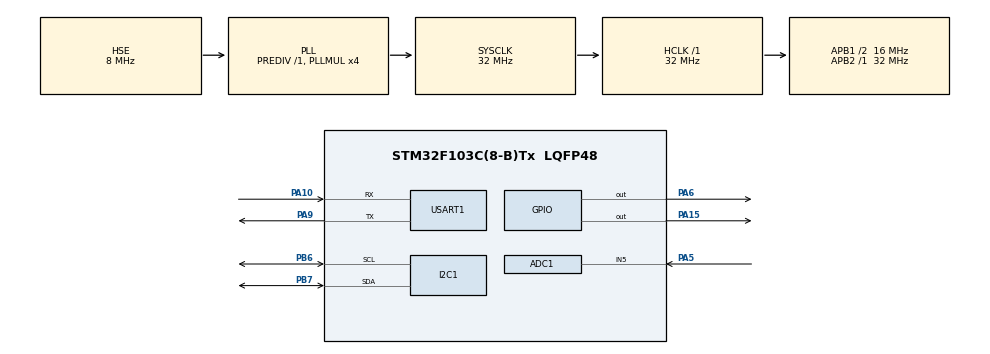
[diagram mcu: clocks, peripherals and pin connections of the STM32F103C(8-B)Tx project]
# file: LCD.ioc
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ADC1.Channel-1\#ChannelRegularConversion=ADC_CHANNEL_5
ADC1.ContinuousConvMode=ENABLE
ADC1.NbrOfConversionFlag=1
ADC1.Rank-1\#ChannelRegularConversion=1
ADC1.SamplingTime-1\#ChannelRegularConversion=ADC_SAMPLETIME_55CYCLES_5
ADC1.master=1
Mcu.Family=STM32F1
Mcu.Name=STM32F103C(8-B)Tx
Mcu.Package=LQFP48
NVIC.ADC1_2_IRQn=true\:0\:0\:false\:false\:true\:true\:true
NVIC.PriorityGroup=NVIC_PRIORITYGROUP_4
NVIC.USART1_IRQn=true\:0\:0\:false\:false\:true\:true\:true
PA10.Mode=Asynchronous
PA10.Signal=USART1_RX
PA13.Mode=Serial_Wire
PA13.Signal=SYS_JTMS-SWDIO
PA14.Mode=Serial_Wire
PA14.Signal=SYS_JTCK-SWCLK
PA15.Signal=GPIO_Output
PA5.Signal=ADCx_IN5
PA6.Signal=GPIO_Output
PA9.Mode=Asynchronous
PA9.Signal=USART1_TX
PB6.Mode=I2C
PB6.Signal=I2C1_SCL
PB7.Mode=I2C
PB7.Signal=I2C1_SDA
PD0-OSC_IN.Mode=HSE-External-Oscillator
PD0-OSC_IN.Signal=RCC_OSC_IN
PD1-OSC_OUT.Mode=HSE-External-Oscillator
PD1-OSC_OUT.Signal=RCC_OSC_OUT
ProjectManager.HeapSize=0x200
ProjectManager.StackSize=0x400
ProjectManager.TargetToolchain=MDK-ARM V5
RCC.ADCPresc=RCC_ADCPCLK2_DIV4
RCC.AHBFreq_Value=32000000
RCC.APB1CLKDivider=RCC_HCLK_DIV2
RCC.APB1Freq_Value=16000000
RCC.APB1TimFreq_Value=32000000
RCC.APB2Freq_Value=32000000
RCC.APB2TimFreq_Value=32000000
RCC.HCLKFreq_Value=32000000
RCC.PLLMUL=RCC_PLL_MUL4
RCC.PLLSourceVirtual=RCC_PLLSOURCE_HSE
RCC.SYSCLKFreq_VALUE=32000000
RCC.SYSCLKSource=RCC_SYSCLKSOURCE_PLLCLK
RCC.USBFreq_Value=32000000
SH.ADCx_IN5.0=ADC1_IN5,IN5
TIM2.Period=65535-1
TIM2.Prescaler=32-1
TIM2.TIM_MasterOutputTrigger=TIM_TRGO_UPDATE
TIM3.Period=65535-1
TIM3.Prescaler=32-1
TIM3.TIM_MasterOutputTrigger=TIM_TRGO_UPDATE
USART1.VirtualMode=VM_ASYNC
VP_TIM2_VS_ClockSourceINT.Mode=Internal
VP_TIM3_VS_ClockSourceINT.Mode=Internal
board=custom

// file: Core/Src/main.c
/* USER CODE BEGIN Header */
/**
  ******************************************************************************
  * @file           : main.c
  * @brief          : Main program body
  ******************************************************************************
  * @attention
  *
  * <h2><center>&copy; Copyright (c) 2019 STMicroelectronics.
  * All rights reserved.</center></h2>
  *
  * This software component is licensed by ST under BSD 3-Clause license,
  * the "License"; You may not use this file except in com
  *                        opensource.org/licenses/BSD-3-Clause
  *
  ******************************************************************************
  */
/* USER CODE END Header */
#include "main.h"

/* USER CODE BEGIN Includes */
#include "i2c-lcd.h"
#include "mk_dht11.h"
#include "stdio.h"
#include "string.h"
#include "stm32f1xx_hal_conf.h"
#include "string.h"
/* USER CODE END Includes */

ADC_HandleTypeDef hadc1;

I2C_HandleTypeDef hi2c1;

TIM_HandleTypeDef htim2;
TIM_HandleTypeDef htim3;

UART_HandleTypeDef huart1;

void SystemClock_Config(void);
static void MX_GPIO_Init(void);
static void MX_I2C1_Init(void);
static void MX_TIM2_Init(void);
static void MX_ADC1_Init(void);
static void MX_TIM3_Init(void);
static void MX_USART1_UART_Init(void);

/* USER CODE BEGIN 0 */
uint8_t u8_RxBuff[20];
uint8_t u8_RxData;
char u8_TxBuff[20];
uint8_t _rxIndex;
uint16_t Tx_Flag = 0;

void HAL_UART_RxCpltCallback(UART_HandleTypeDef *huart){
	UNUSED(huart);
	if(huart->Instance == USART1){
		if(u8_RxData != 13){
			u8_RxBuff[_rxIndex++] = u8_RxData;
		}
		else if(u8_RxData == 13){
			_rxIndex = 0;
			Tx_Flag = 1;
		}
		HAL_UART_Receive_IT(&huart1,&u8_RxData,1);
	}
}

void DELAY_TIM_Init(TIM_HandleTypeDef *htim)
{
	HAL_TIM_Base_Start(htim);
}

void DELAY_TIM_Us(TIM_HandleTypeDef *htim, uint32_t Time)
{
	__HAL_TIM_SET_COUNTER(htim,0);
	while(Time--)
	{
		while(__HAL_TIM_GET_COUNTER(htim)<1000){}
	}
}

uint16_t adc_value;
uint16_t Voltage123;
double Dust;
void HAL_ADC_ConvCpltCallback(ADC_HandleTypeDef* hadc){
	if (hadc->Instance ==hadc1.Instance){
		adc_value = HAL_ADC_GetValue(&hadc1);
	}
}
/* USER CODE END 0 */

int main(void)
{

  /* MCU Configuration--------------------------------------------------------*/

  /* Reset of all peripherals, Initializes the Flash interface and the Systick. */
  HAL_Init();

  /* Configure the system clock */
  SystemClock_Config();

  /* Initialize all configured peripherals */
  MX_GPIO_Init();
  MX_I2C1_Init();
  MX_TIM2_Init();
  MX_ADC1_Init();
  MX_TIM3_Init();
  MX_USART1_UART_Init();
  /* USER CODE BEGIN 2 */
	HAL_UART_Transmit(&huart1,u8_TxBuff,sizeof(u8_TxBuff),100);
	HAL_UART_Receive_IT(&huart1,&u8_RxData,1);
	DELAY_TIM_Init(&htim3);
	HAL_ADC_Start_IT(&hadc1);
	dht11_t dht;
	init_dht11(&dht, &htim2, GPIOA, GPIO_PIN_15);
  readDHT11(&dht);
  lcd_init();

	char Display[20];
	char Display1[20];
	char Display2[20];
	char Display3[20];
  /* USER CODE END 2 */

  /* Infinite loop */
  /* USER CODE BEGIN WHILE */
	//int k = 10000;
  while (1)
  {
		//lcd_clear();
		//HAL_Delay(50);
		char str4[100] = "";

		readDHT11(&dht);
	  double temp = (double)dht.temperature;
		sprintf(Display,"Temp:%.2f",temp);
		lcd_send_cmd (0x80|0x10);//10
    lcd_send_string(Display);

		strcat(str4, Display);
    strcat(str4, ",");

		HAL_GPIO_WritePin(GPIOA,GPIO_PIN_6,1);
		DELAY_TIM_Us(&htim3,280);
		HAL_ADC_ConvCpltCallback(&hadc1);
		DELAY_TIM_Us(&htim3,40);
		HAL_GPIO_WritePin(GPIOA,GPIO_PIN_6,0);
		DELAY_TIM_Us(&htim3,968);
		Voltage123 = (double)adc_value * 5;

		double humi = (double)dht.humidty;
		sprintf(Display3,"Humi:%.2f",humi);
		lcd_send_cmd (0x80|0x50);//50
    lcd_send_string(Display3);

		strcat(str4, Display3);
    strcat(str4, ",");

		double value = (double)Voltage123 /1024;
		sprintf(Display1,"Voltage:%.2f",value);
		lcd_send_cmd (0x80|0x00);//00
    lcd_send_string(Display1);

		strcat(str4, Display1);
    strcat(str4, ",");

		double Dust = (double)0.17 * Voltage123 - 0.1;
		sprintf(Display2,"Dust:%.2f",Dust);//40
		lcd_send_cmd (0x80|0x40);
		lcd_send_string(Display2);

		strcat(str4, Display2);
    strcat(str4, "\n");
		HAL_UART_Transmit(&huart1,str4,sizeof(str4),100);
		DELAY_TIM_Us(&htim3,1000000);
    /* USER CODE END WHILE */

  }
}

void SystemClock_Config(void)
{
  RCC_OscInitTypeDef RCC_OscInitStruct = {0};
  RCC_ClkInitTypeDef RCC_ClkInitStruct = {0};
  RCC_PeriphCLKInitTypeDef PeriphClkInit = {0};

  /** Initializes the RCC Oscillators according to the specified parameters
  * in the RCC_OscInitTypeDef structure.
  */
  RCC_OscInitStruct.OscillatorType = RCC_OSCILLATORTYPE_HSE;
  RCC_OscInitStruct.HSEState = RCC_HSE_ON;
  RCC_OscInitStruct.HSEPredivValue = RCC_HSE_PREDIV_DIV1;
  RCC_OscInitStruct.HSIState = RCC_HSI_ON;
  RCC_OscInitStruct.PLL.PLLState = RCC_PLL_ON;
  RCC_OscInitStruct.PLL.PLLSource = RCC_PLLSOURCE_HSE;
  RCC_OscInitStruct.PLL.PLLMUL = RCC_PLL_MUL4;
  if (HAL_RCC_OscConfig(&RCC_OscInitStruct) != HAL_OK)
  {
    Error_Handler();
  }
  /** Initializes the CPU, AHB and APB buses clocks
  */
  RCC_ClkInitStruct.ClockType = RCC_CLOCKTYPE_HCLK|RCC_CLOCKTYPE_SYSCLK
                              |RCC_CLOCKTYPE_PCLK1|RCC_CLOCKTYPE_PCLK2;
  RCC_ClkInitStruct.SYSCLKSource = RCC_SYSCLKSOURCE_PLLCLK;
  RCC_ClkInitStruct.AHBCLKDivider = RCC_SYSCLK_DIV1;
  RCC_ClkInitStruct.APB1CLKDivider = RCC_HCLK_DIV2;
  RCC_ClkInitStruct.APB2CLKDivider = RCC_HCLK_DIV1;

  if (HAL_RCC_ClockConfig(&RCC_ClkInitStruct, FLASH_LATENCY_1) != HAL_OK)
  {
    Error_Handler();
  }
  PeriphClkInit.PeriphClockSelection = RCC_PERIPHCLK_ADC;
  PeriphClkInit.AdcClockSelection = RCC_ADCPCLK2_DIV4;
  if (HAL_RCCEx_PeriphCLKConfig(&PeriphClkInit) != HAL_OK)
  {
    Error_Handler();
  }
}

static void MX_ADC1_Init(void)
{

  ADC_ChannelConfTypeDef sConfig = {0};

  /** Common config
  */
  hadc1.Instance = ADC1;
  hadc1.Init.ScanConvMode = ADC_SCAN_DISABLE;
  hadc1.Init.ContinuousConvMode = ENABLE;
  hadc1.Init.DiscontinuousConvMode = DISABLE;
  hadc1.Init.ExternalTrigConv = ADC_SOFTWARE_START;
  hadc1.Init.DataAlign = ADC_DATAALIGN_RIGHT;
  hadc1.Init.NbrOfConversion = 1;
  if (HAL_ADC_Init(&hadc1) != HAL_OK)
  {
    Error_Handler();
  }
  /** Configure Regular Channel
  */
  sConfig.Channel = ADC_CHANNEL_5;
  sConfig.Rank = ADC_REGULAR_RANK_1;
  sConfig.SamplingTime = ADC_SAMPLETIME_55CYCLES_5;
  if (HAL_ADC_ConfigChannel(&hadc1, &sConfig) != HAL_OK)
  {
    Error_Handler();
  }

}

static void MX_I2C1_Init(void)
{

  hi2c1.Instance = I2C1;
  hi2c1.Init.ClockSpeed = 100000;
  hi2c1.Init.DutyCycle = I2C_DUTYCYCLE_2;
  hi2c1.Init.OwnAddress1 = 0;
  hi2c1.Init.AddressingMode = I2C_ADDRESSINGMODE_7BIT;
  hi2c1.Init.DualAddressMode = I2C_DUALADDRESS_DISABLE;
  hi2c1.Init.OwnAddress2 = 0;
  hi2c1.Init.GeneralCallMode = I2C_GENERALCALL_DISABLE;
  hi2c1.Init.NoStretchMode = I2C_NOSTRETCH_DISABLE;
  if (HAL_I2C_Init(&hi2c1) != HAL_OK)
  {
    Error_Handler();
  }

}

static void MX_TIM2_Init(void)
{

  TIM_ClockConfigTypeDef sClockSourceConfig = {0};
  TIM_MasterConfigTypeDef sMasterConfig = {0};

  htim2.Instance = TIM2;
  htim2.Init.Prescaler = 32-1;
  htim2.Init.CounterMode = TIM_COUNTERMODE_UP;
  htim2.Init.Period = 65535-1;
  htim2.Init.ClockDivision = TIM_CLOCKDIVISION_DIV1;
  htim2.Init.AutoReloadPreload = TIM_AUTORELOAD_PRELOAD_DISABLE;
  if (HAL_TIM_Base_Init(&htim2) != HAL_OK)
  {
    Error_Handler();
  }
  sClockSourceConfig.ClockSource = TIM_CLOCKSOURCE_INTERNAL;
  if (HAL_TIM_ConfigClockSource(&htim2, &sClockSourceConfig) != HAL_OK)
  {
    Error_Handler();
  }
  sMasterConfig.MasterOutputTrigger = TIM_TRGO_UPDATE;
  sMasterConfig.MasterSlaveMode = TIM_MASTERSLAVEMODE_DISABLE;
  if (HAL_TIMEx_MasterConfigSynchronization(&htim2, &sMasterConfig) != HAL_OK)
  {
    Error_Handler();
  }

}

static void MX_TIM3_Init(void)
{

  TIM_ClockConfigTypeDef sClockSourceConfig = {0};
  TIM_MasterConfigTypeDef sMasterConfig = {0};

  htim3.Instance = TIM3;
  htim3.Init.Prescaler = 32-1;
  htim3.Init.CounterMode = TIM_COUNTERMODE_UP;
  htim3.Init.Period = 65535-1;
  htim3.Init.ClockDivision = TIM_CLOCKDIVISION_DIV1;
  htim3.Init.AutoReloadPreload = TIM_AUTORELOAD_PRELOAD_DISABLE;
  if (HAL_TIM_Base_Init(&htim3) != HAL_OK)
  {
    Error_Handler();
  }
  sClockSourceConfig.ClockSource = TIM_CLOCKSOURCE_INTERNAL;
  if (HAL_TIM_ConfigClockSource(&htim3, &sClockSourceConfig) != HAL_OK)
  {
    Error_Handler();
  }
  sMasterConfig.MasterOutputTrigger = TIM_TRGO_UPDATE;
  sMasterConfig.MasterSlaveMode = TIM_MASTERSLAVEMODE_DISABLE;
  if (HAL_TIMEx_MasterConfigSynchronization(&htim3, &sMasterConfig) != HAL_OK)
  {
    Error_Handler();
  }

}

static void MX_USART1_UART_Init(void)
{

  huart1.Instance = USART1;
  huart1.Init.BaudRate = 115200;
  huart1.Init.WordLength = UART_WORDLENGTH_8B;
  huart1.Init.StopBits = UART_STOPBITS_1;
  huart1.Init.Parity = UART_PARITY_NONE;
  huart1.Init.Mode = UART_MODE_TX_RX;
  huart1.Init.HwFlowCtl = UART_HWCONTROL_NONE;
  huart1.Init.OverSampling = UART_OVERSAMPLING_16;
  if (HAL_UART_Init(&huart1) != HAL_OK)
  {
    Error_Handler();
  }

}

static void MX_GPIO_Init(void)
{
  GPIO_InitTypeDef GPIO_InitStruct = {0};

  /* GPIO Ports Clock Enable */
  __HAL_RCC_GPIOD_CLK_ENABLE();
  __HAL_RCC_GPIOA_CLK_ENABLE();
  __HAL_RCC_GPIOB_CLK_ENABLE();

  /*Configure GPIO pin Output Level */
  HAL_GPIO_WritePin(GPIOA, GPIO_PIN_6|GPIO_PIN_15, GPIO_PIN_RESET);

  /*Configure GPIO pins : PA6 PA15 */
  GPIO_InitStruct.Pin = GPIO_PIN_6|GPIO_PIN_15;
  GPIO_InitStruct.Mode = GPIO_MODE_OUTPUT_PP;
  GPIO_InitStruct.Pull = GPIO_NOPULL;
  GPIO_InitStruct.Speed = GPIO_SPEED_FREQ_LOW;
  HAL_GPIO_Init(GPIOA, &GPIO_InitStruct);

}

void Error_Handler(void)
{
}

/************************ (C) COPYRIGHT STMicroelectronics *****END OF FILE****/
